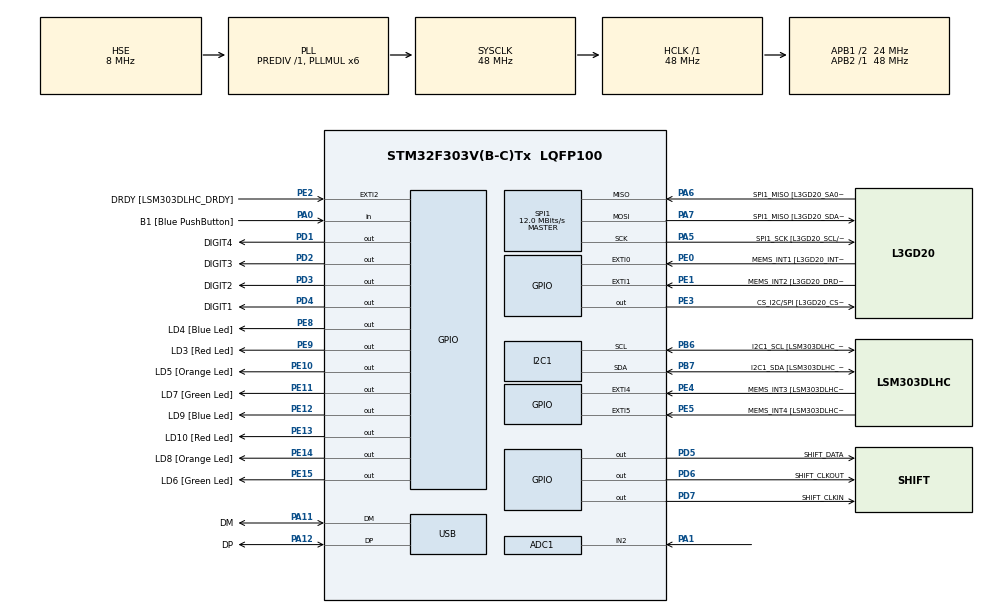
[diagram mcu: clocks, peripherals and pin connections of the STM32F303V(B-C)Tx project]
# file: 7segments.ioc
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ADC1.Channel-1\#ChannelRegularConversion=ADC_CHANNEL_2
ADC1.NbrOfConversionFlag=1
ADC1.Offset-1\#ChannelRegularConversion=0
ADC1.OffsetNumber-1\#ChannelRegularConversion=ADC_OFFSET_NONE
ADC1.Rank-1\#ChannelRegularConversion=1
ADC1.SamplingTime-1\#ChannelRegularConversion=ADC_SAMPLETIME_1CYCLE_5
ADC1.SamplingTimeOPAMP-1\#ChannelRegularConversion=ADC_SAMPLETIME_19CYCLES_5
ADC1.master=1
I2C1.Timing-I2C=0x2000090E
Mcu.Family=STM32F3
Mcu.Name=STM32F303V(B-C)Tx
Mcu.Package=LQFP100
NVIC.PriorityGroup=NVIC_PRIORITYGROUP_0
PA0.GPIO_Label=B1 [Blue PushButton]
PA0.Signal=GPIO_Input
PA1.Mode=IN2-Single-Ended
PA1.Signal=ADC1_IN2
PA11.GPIO_Label=DM
PA11.Mode=Device
PA11.Signal=USB_DM
PA12.GPIO_Label=DP
PA12.Mode=Device
PA12.Signal=USB_DP
PA13.GPIO_Label=SWDIO
PA13.Mode=Serial_Wire
PA13.Signal=SYS_JTMS-SWDIO
PA14.GPIO_Label=SWCLK
PA14.Mode=Serial_Wire
PA14.Signal=SYS_JTCK-SWCLK
PA5.GPIO_Label=SPI1_SCK [L3GD20_SCL/SPC]
PA5.Mode=Full_Duplex_Master
PA5.Signal=SPI1_SCK
PA6.GPIO_Label=SPI1_MISO [L3GD20_SA0/SDO]
PA6.Mode=Full_Duplex_Master
PA6.Signal=SPI1_MISO
PA7.GPIO_Label=SPI1_MISO [L3GD20_SDA/SDI/SDO]
PA7.Mode=Full_Duplex_Master
PA7.Signal=SPI1_MOSI
PB3.GPIO_Label=SWO
PB3.Signal=SYS_JTDO-TRACESWO
PB6.GPIO_Label=I2C1_SCL [LSM303DLHC_SCL]
PB6.GPIO_Pu=GPIO_PULLUP
PB6.Mode=I2C
PB6.Signal=I2C1_SCL
PB7.GPIO_Label=I2C1_SDA [LSM303DLHC_SDA]
PB7.GPIO_Pu=GPIO_PULLUP
PB7.Mode=I2C
PB7.Signal=I2C1_SDA
PC14-OSC32_IN.GPIO_Label=OSC32_IN
PC14-OSC32_IN.Signal=RCC_OSC32_IN
PC15-OSC32_OUT.GPIO_Label=OSC32_OUT
PC15-OSC32_OUT.Signal=RCC_OSC32_OUT
PD1.GPIO_Label=DIGIT4
PD1.Signal=GPIO_Output
PD2.GPIO_Label=DIGIT3
PD2.Signal=GPIO_Output
PD3.GPIO_Label=DIGIT2
PD3.Signal=GPIO_Output
PD4.GPIO_Label=DIGIT1
PD4.Signal=GPIO_Output
PD5.GPIO_Label=SHIFT_DATA
PD5.Signal=GPIO_Output
PD6.GPIO_Label=SHIFT_CLKOUT
PD6.Signal=GPIO_Output
PD7.GPIO_Label=SHIFT_CLKIN
PD7.Signal=GPIO_Output
PE0.GPIO_Label=MEMS_INT1 [L3GD20_INT1]
PE0.GPIO_ModeDefaultEXTI=GPIO_MODE_EVT_RISING
PE0.Signal=GPXTI0
PE1.GPIO_Label=MEMS_INT2 [L3GD20_DRDY/INT2]
PE1.GPIO_ModeDefaultEXTI=GPIO_MODE_EVT_RISING
PE1.Signal=GPXTI1
PE10.GPIO_Label=LD5 [Orange Led]
PE10.Signal=GPIO_Output
PE11.GPIO_Label=LD7 [Green Led]
PE11.Signal=GPIO_Output
PE12.GPIO_Label=LD9 [Blue Led]
PE12.Signal=GPIO_Output
PE13.GPIO_Label=LD10 [Red Led]
PE13.Signal=GPIO_Output
PE14.GPIO_Label=LD8 [Orange Led]
PE14.Signal=GPIO_Output
PE15.GPIO_Label=LD6 [Green Led]
PE15.Signal=GPIO_Output
PE2.GPIO_Label=DRDY [LSM303DLHC_DRDY]
PE2.GPIO_ModeDefaultEXTI=GPIO_MODE_EVT_RISING
PE2.Signal=GPXTI2
PE3.GPIO_Label=CS_I2C/SPI [L3GD20_CS_I2C/SPI]
PE3.Signal=GPIO_Output
PE4.GPIO_Label=MEMS_INT3 [LSM303DLHC_INT1]
PE4.GPIO_ModeDefaultEXTI=GPIO_MODE_EVT_RISING
PE4.Signal=GPXTI4
PE5.GPIO_Label=MEMS_INT4 [LSM303DLHC_INT2]
PE5.GPIO_ModeDefaultEXTI=GPIO_MODE_EVT_RISING
PE5.Signal=GPXTI5
PE8.GPIO_Label=LD4 [Blue Led]
PE8.Signal=GPIO_Output
PE9.GPIO_Label=LD3 [Red Led]
PE9.Signal=GPIO_Output
PF0-OSC_IN.GPIO_Label=OSC_IN
PF0-OSC_IN.Mode=HSE-External-Clock-Source
PF0-OSC_IN.Signal=RCC_OSC_IN
PF1-OSC_OUT.GPIO_Label=OSC_OUT
PF1-OSC_OUT.Signal=RCC_OSC_OUT
ProjectManager.HeapSize=0x200
ProjectManager.StackSize=0x400
ProjectManager.TargetToolchain=STM32CubeIDE
RCC.AHBFreq_Value=48000000
RCC.APB1CLKDivider=RCC_HCLK_DIV2
RCC.APB1Freq_Value=24000000
RCC.APB1TimFreq_Value=48000000
RCC.APB2Freq_Value=48000000
RCC.APB2TimFreq_Value=48000000
RCC.CortexFreq_Value=48000000
RCC.HCLKFreq_Value=48000000
RCC.HSE_VALUE=8000000
RCC.HSI_VALUE=8000000
RCC.LSE_VALUE=32768
RCC.PLLMUL=RCC_PLL_MUL6
RCC.SYSCLKFreq_VALUE=48000000
RCC.SYSCLKSourceVirtual=RCC_SYSCLKSOURCE_PLLCLK
RCC.USBFreq_Value=48000000
SPI1.BaudRatePrescaler=SPI_BAUDRATEPRESCALER_4
SPI1.BaudRatePrescaler-Full_Duplex_Master=SPI_BAUDRATEPRESCALER_2
SPI1.CalculateBaudRate=12.0 MBits/s
SPI1.CalculateBaudRate-Full_Duplex_Master=24.0 MBits/s
SPI1.Direction=SPI_DIRECTION_2LINES
SPI1.Mode=SPI_MODE_MASTER
SPI1.Mode-Full_Duplex_Master=SPI_MODE_MASTER
SPI1.VirtualType=VM_MASTER
board=STM32F3DISCOVERY

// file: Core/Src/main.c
/* USER CODE BEGIN Header */
/**
  ******************************************************************************
  * @file           : main.c
  * @brief          : Main program body
  ******************************************************************************
  * @attention
  *
  * Copyright (c) 2024 STMicroelectronics.
  * All rights reserved.
  *
  * This software is licensed under terms that can be found in the LICENSE file
  * in the root directory of this software component.
  * If no LICENSE file comes with this software, it is provided AS-IS.
  *
  ******************************************************************************
  */
/* USER CODE END Header */
#include "main.h"

ADC_HandleTypeDef hadc1;

I2C_HandleTypeDef hi2c1;

SPI_HandleTypeDef hspi1;

PCD_HandleTypeDef hpcd_USB_FS;

/* USER CODE BEGIN PV */

uint16_t digits[] = {
	DIGIT4_Pin,
	DIGIT3_Pin,
	DIGIT2_Pin,
	DIGIT1_Pin
};

uint8_t numbers[] = {
	0xfc, // 0
	0x60, // 1
	0xda, // 2
	0xf2, // 3
	0x66, // 4
	0xb6, // 5
	0xbe, // 6
	0xe0, // 7
	0xfe, // 8
	0xf6, // 9
};

/* USER CODE END PV */

void SystemClock_Config(void);
static void MX_GPIO_Init(void);
static void MX_I2C1_Init(void);
static void MX_SPI1_Init(void);
static void MX_USB_PCD_Init(void);
static void MX_ADC1_Init(void);

int main(void)
{
  /* USER CODE BEGIN 1 */

	uint8_t test = 0x0;

	uint16_t number = 0;

  /* USER CODE END 1 */

  /* MCU Configuration--------------------------------------------------------*/

  /* Reset of all peripherals, Initializes the Flash interface and the Systick. */
  HAL_Init();

  /* Configure the system clock */
  SystemClock_Config();

  /* Initialize all configured peripherals */
  MX_GPIO_Init();
  MX_I2C1_Init();
  MX_SPI1_Init();
  MX_USB_PCD_Init();
  MX_ADC1_Init();

  /* Infinite loop */
  while (1)
  {

    /* USER CODE BEGIN 3 */
	  HAL_ADC_Start(&hadc1);
	  HAL_ADC_PollForConversion(&hadc1, HAL_MAX_DELAY);
	  number = (uint16_t )HAL_ADC_GetValue(&hadc1);
	  Display_Numbers(number);
//	  Shift_Byte(~numbers[number]);

//	  number = (number + 1) % 10000;
  }
  /* USER CODE END 3 */
}

void SystemClock_Config(void)
{
  RCC_OscInitTypeDef RCC_OscInitStruct = {0};
  RCC_ClkInitTypeDef RCC_ClkInitStruct = {0};
  RCC_PeriphCLKInitTypeDef PeriphClkInit = {0};

  /** Initializes the RCC Oscillators according to the specified parameters
  * in the RCC_OscInitTypeDef structure.
  */
  RCC_OscInitStruct.OscillatorType = RCC_OSCILLATORTYPE_HSI|RCC_OSCILLATORTYPE_HSE;
  RCC_OscInitStruct.HSEState = RCC_HSE_BYPASS;
  RCC_OscInitStruct.HSEPredivValue = RCC_HSE_PREDIV_DIV1;
  RCC_OscInitStruct.HSIState = RCC_HSI_ON;
  RCC_OscInitStruct.HSICalibrationValue = RCC_HSICALIBRATION_DEFAULT;
  RCC_OscInitStruct.PLL.PLLState = RCC_PLL_ON;
  RCC_OscInitStruct.PLL.PLLSource = RCC_PLLSOURCE_HSE;
  RCC_OscInitStruct.PLL.PLLMUL = RCC_PLL_MUL6;
  if (HAL_RCC_OscConfig(&RCC_OscInitStruct) != HAL_OK)
  {
    Error_Handler();
  }

  /** Initializes the CPU, AHB and APB buses clocks
  */
  RCC_ClkInitStruct.ClockType = RCC_CLOCKTYPE_HCLK|RCC_CLOCKTYPE_SYSCLK
                              |RCC_CLOCKTYPE_PCLK1|RCC_CLOCKTYPE_PCLK2;
  RCC_ClkInitStruct.SYSCLKSource = RCC_SYSCLKSOURCE_PLLCLK;
  RCC_ClkInitStruct.AHBCLKDivider = RCC_SYSCLK_DIV1;
  RCC_ClkInitStruct.APB1CLKDivider = RCC_HCLK_DIV2;
  RCC_ClkInitStruct.APB2CLKDivider = RCC_HCLK_DIV1;

  if (HAL_RCC_ClockConfig(&RCC_ClkInitStruct, FLASH_LATENCY_1) != HAL_OK)
  {
    Error_Handler();
  }
  PeriphClkInit.PeriphClockSelection = RCC_PERIPHCLK_USB|RCC_PERIPHCLK_I2C1
                              |RCC_PERIPHCLK_ADC12;
  PeriphClkInit.Adc12ClockSelection = RCC_ADC12PLLCLK_DIV1;
  PeriphClkInit.I2c1ClockSelection = RCC_I2C1CLKSOURCE_HSI;
  PeriphClkInit.USBClockSelection = RCC_USBCLKSOURCE_PLL;
  if (HAL_RCCEx_PeriphCLKConfig(&PeriphClkInit) != HAL_OK)
  {
    Error_Handler();
  }
}

static void MX_ADC1_Init(void)
{

  ADC_MultiModeTypeDef multimode = {0};
  ADC_ChannelConfTypeDef sConfig = {0};

  /** Common config
  */
  hadc1.Instance = ADC1;
  hadc1.Init.ClockPrescaler = ADC_CLOCK_ASYNC_DIV1;
  hadc1.Init.Resolution = ADC_RESOLUTION_12B;
  hadc1.Init.ScanConvMode = ADC_SCAN_DISABLE;
  hadc1.Init.ContinuousConvMode = DISABLE;
  hadc1.Init.DiscontinuousConvMode = DISABLE;
  hadc1.Init.ExternalTrigConvEdge = ADC_EXTERNALTRIGCONVEDGE_NONE;
  hadc1.Init.ExternalTrigConv = ADC_SOFTWARE_START;
  hadc1.Init.DataAlign = ADC_DATAALIGN_RIGHT;
  hadc1.Init.NbrOfConversion = 1;
  hadc1.Init.DMAContinuousRequests = DISABLE;
  hadc1.Init.EOCSelection = ADC_EOC_SINGLE_CONV;
  hadc1.Init.LowPowerAutoWait = DISABLE;
  hadc1.Init.Overrun = ADC_OVR_DATA_OVERWRITTEN;
  if (HAL_ADC_Init(&hadc1) != HAL_OK)
  {
    Error_Handler();
  }

  /** Configure the ADC multi-mode
  */
  multimode.Mode = ADC_MODE_INDEPENDENT;
  if (HAL_ADCEx_MultiModeConfigChannel(&hadc1, &multimode) != HAL_OK)
  {
    Error_Handler();
  }

  /** Configure Regular Channel
  */
  sConfig.Channel = ADC_CHANNEL_2;
  sConfig.Rank = ADC_REGULAR_RANK_1;
  sConfig.SingleDiff = ADC_SINGLE_ENDED;
  sConfig.SamplingTime = ADC_SAMPLETIME_1CYCLE_5;
  sConfig.OffsetNumber = ADC_OFFSET_NONE;
  sConfig.Offset = 0;
  if (HAL_ADC_ConfigChannel(&hadc1, &sConfig) != HAL_OK)
  {
    Error_Handler();
  }

}

static void MX_I2C1_Init(void)
{

  hi2c1.Instance = I2C1;
  hi2c1.Init.Timing = 0x2000090E;
  hi2c1.Init.OwnAddress1 = 0;
  hi2c1.Init.AddressingMode = I2C_ADDRESSINGMODE_7BIT;
  hi2c1.Init.DualAddressMode = I2C_DUALADDRESS_DISABLE;
  hi2c1.Init.OwnAddress2 = 0;
  hi2c1.Init.OwnAddress2Masks = I2C_OA2_NOMASK;
  hi2c1.Init.GeneralCallMode = I2C_GENERALCALL_DISABLE;
  hi2c1.Init.NoStretchMode = I2C_NOSTRETCH_DISABLE;
  if (HAL_I2C_Init(&hi2c1) != HAL_OK)
  {
    Error_Handler();
  }

  /** Configure Analogue filter
  */
  if (HAL_I2CEx_ConfigAnalogFilter(&hi2c1, I2C_ANALOGFILTER_ENABLE) != HAL_OK)
  {
    Error_Handler();
  }

  /** Configure Digital filter
  */
  if (HAL_I2CEx_ConfigDigitalFilter(&hi2c1, 0) != HAL_OK)
  {
    Error_Handler();
  }

}

static void MX_SPI1_Init(void)
{

  /* SPI1 parameter configuration*/
  hspi1.Instance = SPI1;
  hspi1.Init.Mode = SPI_MODE_MASTER;
  hspi1.Init.Direction = SPI_DIRECTION_2LINES;
  hspi1.Init.DataSize = SPI_DATASIZE_4BIT;
  hspi1.Init.CLKPolarity = SPI_POLARITY_LOW;
  hspi1.Init.CLKPhase = SPI_PHASE_1EDGE;
  hspi1.Init.NSS = SPI_NSS_SOFT;
  hspi1.Init.BaudRatePrescaler = SPI_BAUDRATEPRESCALER_4;
  hspi1.Init.FirstBit = SPI_FIRSTBIT_MSB;
  hspi1.Init.TIMode = SPI_TIMODE_DISABLE;
  hspi1.Init.CRCCalculation = SPI_CRCCALCULATION_DISABLE;
  hspi1.Init.CRCPolynomial = 7;
  hspi1.Init.CRCLength = SPI_CRC_LENGTH_DATASIZE;
  hspi1.Init.NSSPMode = SPI_NSS_PULSE_ENABLE;
  if (HAL_SPI_Init(&hspi1) != HAL_OK)
  {
    Error_Handler();
  }

}

static void MX_USB_PCD_Init(void)
{

  hpcd_USB_FS.Instance = USB;
  hpcd_USB_FS.Init.dev_endpoints = 8;
  hpcd_USB_FS.Init.speed = PCD_SPEED_FULL;
  hpcd_USB_FS.Init.phy_itface = PCD_PHY_EMBEDDED;
  hpcd_USB_FS.Init.low_power_enable = DISABLE;
  hpcd_USB_FS.Init.battery_charging_enable = DISABLE;
  if (HAL_PCD_Init(&hpcd_USB_FS) != HAL_OK)
  {
    Error_Handler();
  }

}

static void MX_GPIO_Init(void)
{
  GPIO_InitTypeDef GPIO_InitStruct = {0};

  /* GPIO Ports Clock Enable */
  __HAL_RCC_GPIOE_CLK_ENABLE();
  __HAL_RCC_GPIOC_CLK_ENABLE();
  __HAL_RCC_GPIOF_CLK_ENABLE();
  __HAL_RCC_GPIOA_CLK_ENABLE();
  __HAL_RCC_GPIOD_CLK_ENABLE();
  __HAL_RCC_GPIOB_CLK_ENABLE();

  /*Configure GPIO pin Output Level */
  HAL_GPIO_WritePin(GPIOE, CS_I2C_SPI_Pin|LD4_Pin|LD3_Pin|LD5_Pin
                          |LD7_Pin|LD9_Pin|LD10_Pin|LD8_Pin
                          |LD6_Pin, GPIO_PIN_RESET);

  /*Configure GPIO pin Output Level */
  HAL_GPIO_WritePin(GPIOD, DIGIT4_Pin|DIGIT3_Pin|DIGIT2_Pin|DIGIT1_Pin
                          |SHIFT_DATA_Pin|SHIFT_CLKOUT_Pin|SHIFT_CLKIN_Pin, GPIO_PIN_RESET);

  /*Configure GPIO pins : DRDY_Pin MEMS_INT3_Pin MEMS_INT4_Pin MEMS_INT1_Pin
                           MEMS_INT2_Pin */
  GPIO_InitStruct.Pin = DRDY_Pin|MEMS_INT3_Pin|MEMS_INT4_Pin|MEMS_INT1_Pin
                          |MEMS_INT2_Pin;
  GPIO_InitStruct.Mode = GPIO_MODE_EVT_RISING;
  GPIO_InitStruct.Pull = GPIO_NOPULL;
  HAL_GPIO_Init(GPIOE, &GPIO_InitStruct);

  /*Configure GPIO pins : CS_I2C_SPI_Pin LD4_Pin LD3_Pin LD5_Pin
                           LD7_Pin LD9_Pin LD10_Pin LD8_Pin
                           LD6_Pin */
  GPIO_InitStruct.Pin = CS_I2C_SPI_Pin|LD4_Pin|LD3_Pin|LD5_Pin
                          |LD7_Pin|LD9_Pin|LD10_Pin|LD8_Pin
                          |LD6_Pin;
  GPIO_InitStruct.Mode = GPIO_MODE_OUTPUT_PP;
  GPIO_InitStruct.Pull = GPIO_NOPULL;
  GPIO_InitStruct.Speed = GPIO_SPEED_FREQ_LOW;
  HAL_GPIO_Init(GPIOE, &GPIO_InitStruct);

  /*Configure GPIO pin : B1_Pin */
  GPIO_InitStruct.Pin = B1_Pin;
  GPIO_InitStruct.Mode = GPIO_MODE_INPUT;
  GPIO_InitStruct.Pull = GPIO_NOPULL;
  HAL_GPIO_Init(B1_GPIO_Port, &GPIO_InitStruct);

  /*Configure GPIO pins : DIGIT4_Pin DIGIT3_Pin DIGIT2_Pin DIGIT1_Pin
                           SHIFT_DATA_Pin SHIFT_CLKOUT_Pin SHIFT_CLKIN_Pin */
  GPIO_InitStruct.Pin = DIGIT4_Pin|DIGIT3_Pin|DIGIT2_Pin|DIGIT1_Pin
                          |SHIFT_DATA_Pin|SHIFT_CLKOUT_Pin|SHIFT_CLKIN_Pin;
  GPIO_InitStruct.Mode = GPIO_MODE_OUTPUT_PP;
  GPIO_InitStruct.Pull = GPIO_NOPULL;
  GPIO_InitStruct.Speed = GPIO_SPEED_FREQ_LOW;
  HAL_GPIO_Init(GPIOD, &GPIO_InitStruct);

}

/* USER CODE BEGIN 4 */

void Shift_Byte(uint8_t byte){
	for (int i = 0; i < 8; i++) {
		HAL_GPIO_WritePin(GPIOD, SHIFT_DATA_Pin, !!(byte & (1 << (7 - i))));
		HAL_GPIO_WritePin(GPIOD, SHIFT_CLKIN_Pin, GPIO_PIN_SET);
		HAL_GPIO_WritePin(GPIOD, SHIFT_CLKIN_Pin, GPIO_PIN_RESET);
	}
	HAL_GPIO_WritePin(GPIOD, SHIFT_CLKOUT_Pin, GPIO_PIN_SET);
	HAL_GPIO_WritePin(GPIOD, SHIFT_CLKOUT_Pin, GPIO_PIN_RESET);
}
void Display_Numbers(uint16_t number) {
	if (number > 9999) {
		number = 9999;
	}
	uint8_t thousands = (number / 1000);
	uint8_t hundreds = (number % 1000) / 100;
	uint8_t tens = (number % 100) / 10;
	uint8_t ones = number % 10;
	uint8_t nums[] = {
		numbers[thousands],
		numbers[hundreds],
		numbers[tens],
		numbers[ones]
	};

	for(uint8_t i = 0; i < 4; i++) {
		Clear_Numbers();
		HAL_GPIO_WritePin(GPIOD, digits[i], GPIO_PIN_SET);
		Shift_Byte(~nums[i]);
		HAL_Delay(5);
	}
}
void Clear_Numbers() {
	HAL_GPIO_WritePin(GPIOD, DIGIT4_Pin, GPIO_PIN_RESET);
	HAL_GPIO_WritePin(GPIOD, DIGIT3_Pin, GPIO_PIN_RESET);
	HAL_GPIO_WritePin(GPIOD, DIGIT2_Pin, GPIO_PIN_RESET);
	HAL_GPIO_WritePin(GPIOD, DIGIT1_Pin, GPIO_PIN_RESET);
}

/* USER CODE END 4 */

void Error_Handler(void)
{
  __disable_irq();
  while (1)
  {
  }
}
